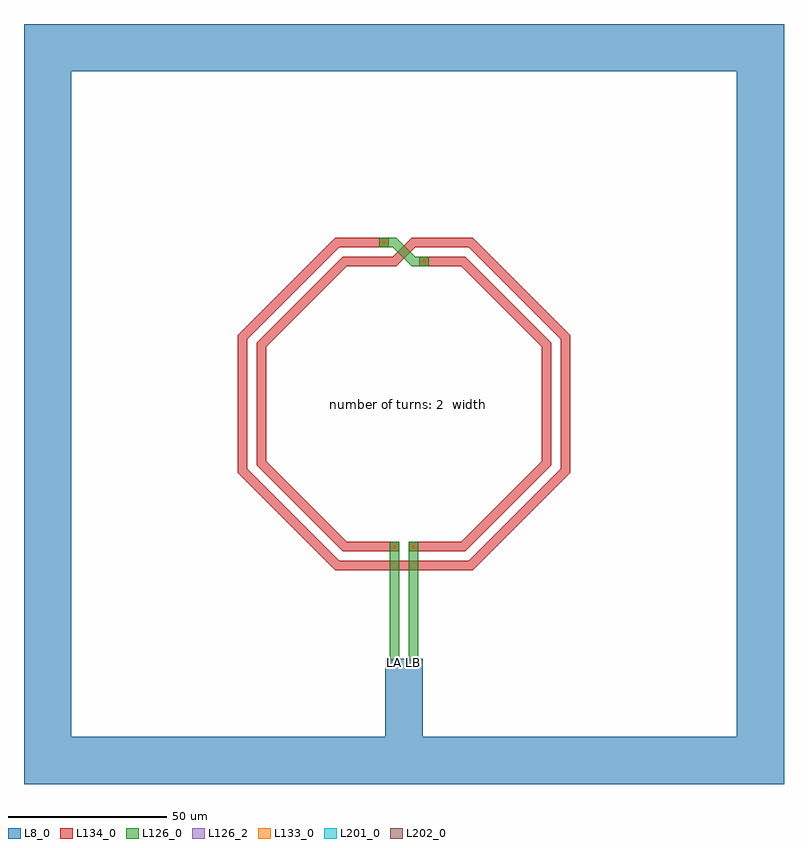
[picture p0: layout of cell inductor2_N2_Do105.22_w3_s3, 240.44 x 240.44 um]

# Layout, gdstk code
import gdstk
lib = gdstk.Library(unit=1e-6, precision=1e-09)
def R(c, l, rs):  # rectangles x0, y0, x1, y1
    for r in rs: c.add(gdstk.rectangle(r[:2], r[2:], *l))
def P(c, l, *ps):  # polygons
    for p in ps: c.add(gdstk.Polygon(p, *l))
L8_0 = (8, 0)
L126_0 = (126, 0)
L126_2 = (126, 2)
L133_0 = (133, 0)
L134_0 = (134, 0)
L201_0 = (201, 0)
L202_0 = (202, 0)

inductor2_n2_do105_22_w3 = lib.new_cell('inductor2_N2_Do105.22_w3_s3')
R(inductor2_n2_do105_22_w3, L8_0, [(-120.22,-120.22,-105.22,120.22), (-105.22,-120.22,105.22,-105.22), (105.22,-120.22,120.22,120.22), (-6,-105.22,6,-80.61), (-105.22,105.22,105.22,120.22)])
R(inductor2_n2_do105_22_w3, L126_0, [(-4.5,-82.61,-1.5,-43.61), (1.5,-82.61,4.5,-43.61)])
P(inductor2_n2_do105_22_w3, L126_0, [(-7.86,52.61),(-7.86,49.61),(-3.621,49.61),(2.379,43.61),(7.86,43.61),(7.86,46.61),(3.621,46.61),(-2.379,52.61)])
R(inductor2_n2_do105_22_w3, L126_2, [(-4.5,-82.61,-1.5,-81.11), (1.5,-82.61,4.5,-81.11)])
R(inductor2_n2_do105_22_w3, L133_0, [(-3.45,-45.56,-2.55,-44.66), (2.55,-45.56,3.45,-44.66), (5.92,44.66,6.82,45.56), (-6.82,50.66,-5.92,51.56)])
R(inductor2_n2_do105_22_w3, L134_0, [(-7.865,-52.61,7.865,-49.61)])
P(inductor2_n2_do105_22_w3, L134_0, [(-4.86,-52.61),(-4.86,-49.61),(-20.549,-49.61),(-49.61,-20.549),(-49.61,3),(-52.61,3),(-52.61,-21.791),(-21.791,-52.61)],
  [(-4.86,49.61),(-4.86,52.61),(-21.791,52.61),(-52.61,21.791),(-52.61,-3),(-49.61,-3),(-49.61,20.549),(-20.549,49.61)],
  [(4.86,-49.61),(4.86,-52.61),(21.791,-52.61),(52.61,-21.791),(52.61,3),(49.61,3),(49.61,-20.549),(20.549,-49.61)],
  [(4.86,52.61),(4.86,49.61),(20.549,49.61),(49.61,20.549),(49.61,-3),(52.61,-3),(52.61,21.791),(21.791,52.61)],
  [(-1.5,-46.61),(-1.5,-43.61),(-18.069,-43.61),(-43.61,-18.069),(-43.61,3),(-46.61,3),(-46.61,-19.311),(-19.311,-46.61)],
  [(-4.86,43.61),(-4.86,46.61),(-19.311,46.61),(-46.61,19.311),(-46.61,-3),(-43.61,-3),(-43.61,18.069),(-18.069,43.61)],
  [(1.5,-43.61),(1.5,-46.61),(19.311,-46.61),(46.61,-19.311),(46.61,3),(43.61,3),(43.61,-18.069),(18.069,-43.61)],
  [(4.86,46.61),(4.86,43.61),(18.069,43.61),(43.61,18.069),(43.61,-3),(46.61,-3),(46.61,19.311),(19.311,46.61)],
  [(-7.86,46.61),(-7.86,43.61),(-2.379,43.61),(3.621,49.61),(7.86,49.61),(7.86,52.61),(2.379,52.61),(-3.621,46.61)])
R(inductor2_n2_do105_22_w3, L201_0, [(-4.5,-82.61,-1.5,-82.51)])
R(inductor2_n2_do105_22_w3, L202_0, [(1.5,-82.61,4.5,-82.51)])
inductor2_n2_do105_22_w3.add(gdstk.Label('LA', (-3,-81.86), layer=27, texttype=25))
inductor2_n2_do105_22_w3.add(gdstk.Label('LB', (3,-81.86), layer=27, texttype=25))
inductor2_n2_do105_22_w3.add(gdstk.Label('  number of turns: 2\n  width: 3.00\n  spacing: 3.00\n  outer diameter: 105.22\n  inner diameter: 87.22\n', (0,0), layer=63, texttype=0))

lib.write_gds('inductor2_N2_Do105.22_w3_s3.gds')
